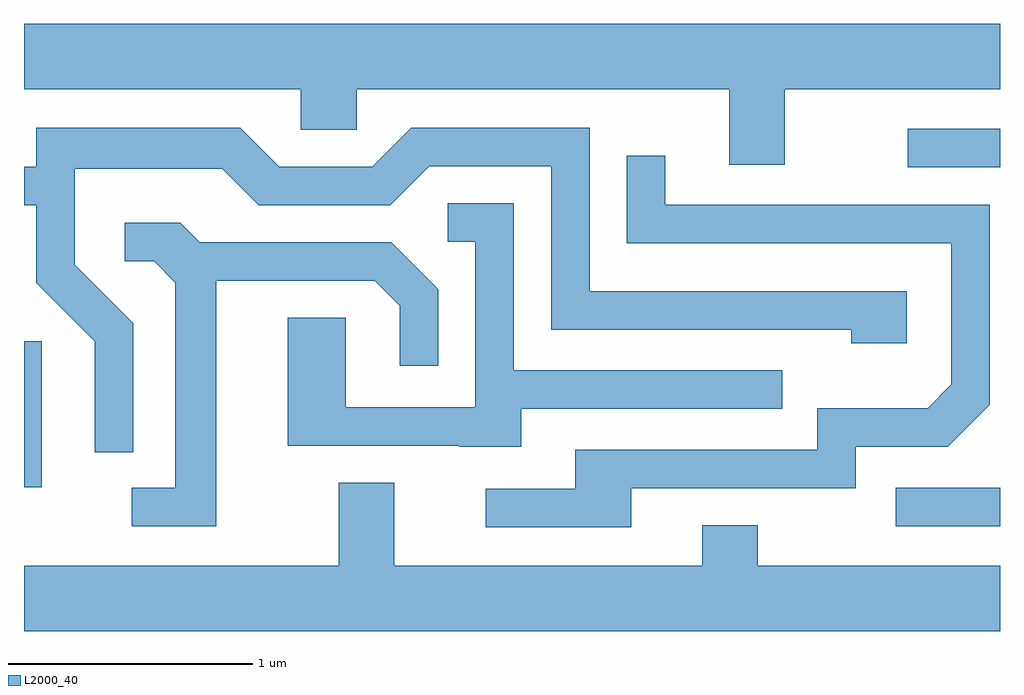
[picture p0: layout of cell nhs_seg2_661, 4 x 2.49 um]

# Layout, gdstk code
import gdstk
lib = gdstk.Library(unit=1e-6, precision=1e-09)
def R(c, l, rs):  # rectangles x0, y0, x1, y1
    for r in rs: c.add(gdstk.rectangle(r[:2], r[2:], *l))
def P(c, l, *ps):  # polygons
    for p in ps: c.add(gdstk.Polygon(p, *l))
L2000_40 = (2000, 40)

nhs_seg2_661 = lib.new_cell('nhs_seg2_661')
R(nhs_seg2_661, L2000_40, [(207.183,1077.606,207.611,1077.764), (203.611,1077.766,203.684,1078.364), (207.233,1079.076,207.611,1079.234)])
P(nhs_seg2_661, L2000_40, [(206.729,1079.396),(207.611,1079.396),(207.611,1079.664),(203.611,1079.664),(203.611,1079.396),(204.746,1079.396),(204.746,1079.231),(204.974,1079.231),(204.974,1079.396),(206.501,1079.396),(206.501,1079.086),(206.729,1079.086)],
  [(204.059,1078.437),(203.819,1078.677),(203.819,1079.071),(204.424,1079.071),(204.574,1078.921),(205.112,1078.921),(205.272,1079.081),(205.771,1079.081),(205.771,1078.411),(207.001,1078.411),(207.001,1078.356),(207.229,1078.356),(207.229,1078.569),(205.929,1078.569),(205.929,1079.239),(205.199,1079.239),(205.039,1079.079),(204.657,1079.079),(204.497,1079.239),(203.661,1079.239),(203.661,1079.079),(203.611,1079.079),(203.611,1078.921),(203.661,1078.921),(203.661,1078.604),(203.901,1078.364),(203.901,1077.908),(204.059,1077.908)],
  [(206.099,1077.761),(207.019,1077.761),(207.019,1077.931),(207.397,1077.931),(207.569,1078.104),(207.569,1078.924),(206.239,1078.924),(206.239,1079.123),(206.081,1079.123),(206.081,1078.766),(207.411,1078.766),(207.411,1078.187),(207.314,1078.089),(206.861,1078.089),(206.861,1077.919),(205.871,1077.919),(205.871,1077.759),(205.503,1077.759),(205.503,1077.601),(206.099,1077.601)],
  [(205.649,1078.086),(206.718,1078.086),(206.718,1078.244),(205.619,1078.244),(205.619,1078.929),(205.348,1078.929),(205.348,1078.771),(205.461,1078.771),(205.461,1078.094),(204.929,1078.094),(204.929,1078.459),(204.691,1078.459),(204.691,1077.936),(205.395,1077.936),(205.395,1077.931),(205.649,1077.931)],
  [(204.399,1078.611),(205.049,1078.611),(205.151,1078.509),(205.151,1078.263),(205.309,1078.263),(205.309,1078.577),(205.117,1078.769),(204.332,1078.769),(204.252,1078.849),(204.023,1078.849),(204.023,1078.691),(204.144,1078.691),(204.231,1078.604),(204.231,1077.764),(204.053,1077.764),(204.053,1077.606),(204.399,1077.606)],
  [(207.611,1077.444),(206.619,1077.444),(206.619,1077.609),(206.391,1077.609),(206.391,1077.444),(205.129,1077.444),(205.129,1077.784),(204.901,1077.784),(204.901,1077.444),(203.611,1077.444),(203.611,1077.176),(207.611,1077.176)])

lib.write_gds('nhs_seg2_661.gds')
